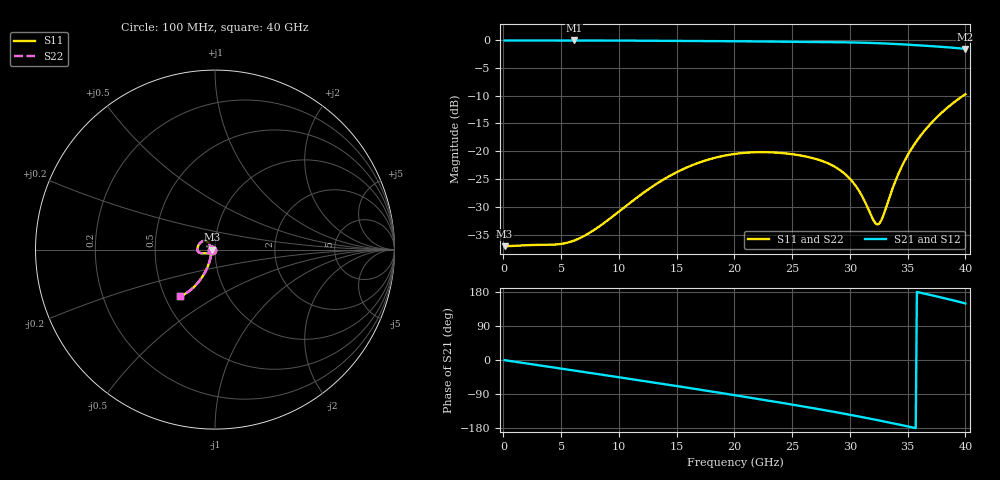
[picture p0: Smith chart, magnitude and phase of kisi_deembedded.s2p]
! C_s8_nonfp: kisi-fdtd, de-embedded with the 2×thru
# Hz S RI R 50
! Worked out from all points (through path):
!   400 points, 100 MHz to 40 GHz, reference 50 ohm
!   highest |S21| = -0.13 dB at 6.1 GHz (marker M1); lowest = -1.6 dB at 40 GHz (marker M2)
!   group delay of S21, straight-line fit = 14.2 ps
!   lowest |S11| = -37.0 dB at 100 MHz (marker M3), VSWR 1.03, Z = 48.6 - j0.0209 ohm
!   |S11| at or under -10 dB: start of sweep to 39.82 GHz
!   |S22| runs from -37.0 to -9.8 dB; largest |S21 - S12| = 2.2e-07
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1e8  -0.0141 -0.000215  0.9843 -0.00776  0.9843 -0.00776  -0.0141 -0.000215
3.1e9  -0.0134 -0.00574  0.9551 -0.2381  0.9551 -0.2381  -0.0134 -0.00574
4.9e9  -0.0122 -0.00836  0.9119 -0.3712  0.9119 -0.3712  -0.0122 -0.00836
6.1e9  -0.012 -0.0103  0.8726 -0.4565  0.8726 -0.4565  -0.012 -0.0103
6.8e9  -0.0125 -0.0116  0.8456 -0.5045  0.8456 -0.5045  -0.0125 -0.0116
1.02e10  -0.0243 -0.0176  0.6767 -0.7116  0.6767 -0.7116  -0.0243 -0.0176
1.34e10  -0.048 -0.0209  0.4713 -0.8576  0.4713 -0.8576  -0.048 -0.0209
1.67e10  -0.075 -0.0203  0.2231 -0.9491  0.2231 -0.9491  -0.075 -0.0203
2.01e10  -0.0944 -0.0113  -0.0546 -0.9675  -0.0546 -0.9675  -0.0944 -0.0113
2.34e10  -0.0969 0.0127  -0.3219 -0.9068  -0.3219 -0.9068  -0.0969 0.0127
2.67e10  -0.0762 0.0429  -0.568 -0.769  -0.568 -0.769  -0.0762 0.0429
2.85e10  -0.0562 0.0491  -0.686 -0.6597  -0.686 -0.6597  -0.0562 0.0491
2.99e10  -0.04 0.0423  -0.7656 -0.5571  -0.7656 -0.5571  -0.04 0.0423
3.09e10  -0.0302 0.0297  -0.8136 -0.4745  -0.8136 -0.4745  -0.0302 0.0297
3.2e10  -0.0233 0.00794  -0.8556 -0.3754  -0.8556 -0.3754  -0.0233 0.00794
3.23e10  -0.0223 0.000654  -0.8649 -0.347  -0.8649 -0.347  -0.0223 0.000654
3.27e10  -0.0218 -0.00988  -0.8757 -0.3085  -0.8757 -0.3085  -0.0218 -0.00988
3.34e10  -0.0229 -0.0304  -0.89 -0.2393  -0.89 -0.2393  -0.0229 -0.0304
3.45e10  -0.0306 -0.0669  -0.9003 -0.1274  -0.9003 -0.1274  -0.0306 -0.0669
3.59e10  -0.0513 -0.1182  -0.8914 0.0175  -0.8914 0.0175  -0.0513 -0.1182
3.77e10  -0.0968 -0.1864  -0.8428 0.2024  -0.8428 0.2024  -0.0968 -0.1864
4e10  -0.1942 -0.261  -0.7109 0.423  -0.7109 0.423  -0.1942 -0.261
